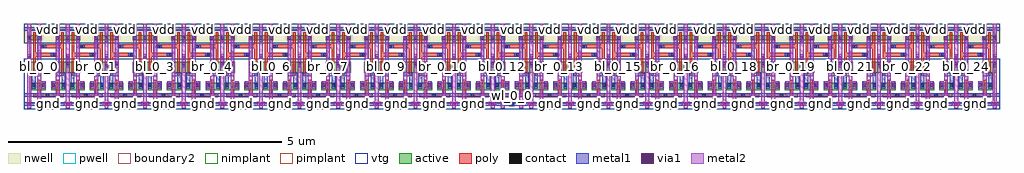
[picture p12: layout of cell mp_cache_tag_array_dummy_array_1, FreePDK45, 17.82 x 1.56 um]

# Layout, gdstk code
import gdstk
lib = gdstk.Library(unit=1e-6, precision=5e-10)
def R(c, l, rs):  # rectangles x0, y0, x1, y1
    for r in rs: c.add(gdstk.rectangle(r[:2], r[2:], *l))
def A(c, l, x, y, w, h, nx, ny, dx, dy):  # array of equal rectangles
    R(c, l, [(x+i*dx, y+j*dy, x+i*dx+w, y+j*dy+h) for i in range(nx) for j in range(ny)])
active = (1, 0)
pwell = (2, 0)
nwell = (3, 0)
nimplant = (4, 0)
pimplant = (5, 0)
vtg = (6, 0)
poly = (9, 0)
contact = (10, 0)
metal1 = (11, 0)
via1 = (12, 0)
metal2 = (13, 0)
boundary2 = (239, 0)

dummy_cell_1rw = lib.new_cell('dummy_cell_1rw')
R(dummy_cell_1rw, active, [(0.3025,-0.045,0.3925,0.045), (0.3025,-0.045,0.3925,0.045), (0.045,0.2475,0.305,0.3825), (0.045,0.2475,0.12,0.3825), (0.045,0.2475,0.12,0.3825), (0.23,0.2475,0.305,0.3825), (0.23,0.2475,0.305,0.3825), (0.4,0.2475,0.66,0.3825), (0.4,0.2475,0.475,0.3825), (0.4,0.2475,0.475,0.3825), (0.585,0.2475,0.66,0.3825), (0.585,0.2475,0.66,0.3825), (0.045,0.3075,0.12,0.3825), (0.23,0.3075,0.305,0.3825), (0.4,0.3075,0.475,0.3825), (0.585,0.3075,0.66,0.3825), (-0.04,0.5675,0.04,0.7725), (-0.035,0.5675,0.225,0.7725), (-0.035,0.5675,0.04,0.7725), (0.15,0.5675,0.225,0.7725), (0.15,0.5675,0.225,0.7725), (0.48,0.5675,0.74,0.7725), (0.48,0.5675,0.555,0.7725), (0.48,0.5675,0.555,0.7725), (0.665,0.5675,0.74,0.7725), (0.665,0.5675,0.745,0.7725), (-0.035,0.6975,0.04,0.7725), (0.15,0.6975,0.225,0.7725), (0.48,0.6975,0.555,0.7725), (0.665,0.6975,0.74,0.7725), (-0.04,1.1625,0.04,1.2525), (-0.035,1.1625,0.04,1.2375), (-0.035,1.1625,0.225,1.2525), (-0.035,1.1625,0.04,1.2525), (0.15,1.1625,0.225,1.2375), (0.15,1.1625,0.225,1.2525), (0.15,1.1625,0.225,1.2525), (0.48,1.1625,0.555,1.2375), (0.48,1.1625,0.74,1.2525), (0.48,1.1625,0.555,1.2525), (0.48,1.1625,0.555,1.2525), (0.665,1.1625,0.74,1.2375), (0.665,1.1625,0.74,1.2525), (0.665,1.1625,0.745,1.2525), (0.3025,1.32,0.3925,1.41), (0.3025,1.32,0.3925,1.41)])
R(dummy_cell_1rw, pwell, [(-0.095,-0.1,0.8,0.8275), (0.2475,-0.1,0.4475,0.1), (0.2475,-0.08,0.4475,0.12), (-0.01,0.1925,0.36,0.4375), (0.345,0.1925,0.715,0.4375), (-0.09,0.5125,0.28,0.8275), (0.425,0.5125,0.795,0.8275)])
R(dummy_cell_1rw, nwell, [(-0.095,1.1075,0.8,1.465), (-0.09,1.1075,0.28,1.3075), (0.425,1.1075,0.795,1.3075), (0.2475,1.265,0.4475,1.465), (0.2475,1.265,0.4475,1.465)])
R(dummy_cell_1rw, nimplant, [(0.045,0.2475,0.305,0.3825), (0.4,0.2475,0.66,0.3825), (-0.035,0.5675,0.225,0.7725), (0.48,0.5675,0.74,0.7725), (0.3025,1.32,0.3925,1.41), (0.3025,1.32,0.3925,1.41)])
R(dummy_cell_1rw, pimplant, [(0.3025,-0.045,0.3925,0.045), (-0.035,1.1625,0.225,1.2525), (0.48,1.1625,0.74,1.2525)])
R(dummy_cell_1rw, vtg, [(-0.09,-0.1,0.795,0.8275), (-0.01,0.1925,0.36,0.4375), (0.345,0.1925,0.715,0.4375), (-0.09,0.5125,0.28,0.8275), (0.425,0.5125,0.795,0.8275), (-0.09,1.1075,0.28,1.3075), (-0.09,1.1075,0.795,1.465), (0.425,1.1075,0.795,1.3075)])
R(dummy_cell_1rw, poly, [(0.07,0.1225,0.635,0.1975), (0.2975,0.1225,0.3725,0.1975), (0.15,0.1925,0.2,0.2475), (0.15,0.1925,0.2,0.4375), (0.505,0.1925,0.555,0.2475), (0.505,0.1925,0.555,0.4375), (0.15,0.3825,0.2,0.4375), (0.505,0.3825,0.555,0.4375), (0.07,0.5125,0.12,0.5675), (0.07,0.5125,0.12,0.8275), (0.585,0.5125,0.635,0.5675), (0.585,0.5125,0.635,0.8275), (0.07,0.7725,0.12,0.8275), (0.585,0.7725,0.635,0.8275), (0.07,0.8275,0.12,1.1075), (0.07,0.8275,0.12,1.1075), (0.585,0.8275,0.635,1.1075), (0.585,0.8275,0.635,1.1075), (0.07,0.8625,0.5025,0.9375), (0.4275,0.8625,0.5025,0.9375), (0.4275,0.8625,0.5025,0.9375), (0.2025,1.0125,0.2775,1.0875), (0.2025,1.0125,0.2775,1.0875), (0.2025,1.0125,0.635,1.0875), (0.07,1.1075,0.12,1.1625), (0.07,1.1075,0.12,1.3075), (0.585,1.1075,0.635,1.1625), (0.585,1.1075,0.635,1.3075), (0.07,1.2525,0.12,1.3075), (0.585,1.2525,0.635,1.3075)])
R(dummy_cell_1rw, contact, [(0.315,-0.0325,0.38,0.0325), (0.3025,0.1275,0.3675,0.1925), (0.05,0.3125,0.115,0.3775), (0.235,0.3125,0.3,0.3775), (0.405,0.3125,0.47,0.3775), (0.59,0.3125,0.655,0.3775), (-0.0325,0.7025,0.0325,0.7675), (0.155,0.7025,0.22,0.7675), (0.485,0.7025,0.55,0.7675), (0.6725,0.7025,0.7375,0.7675), (0.4325,0.8675,0.4975,0.9325), (0.4325,0.8675,0.4975,0.9325), (0.2075,1.0175,0.2725,1.0825), (0.2075,1.0175,0.2725,1.0825), (-0.0325,1.1675,0.0325,1.2325), (0.155,1.1675,0.22,1.2325), (0.485,1.1675,0.55,1.2325), (0.6725,1.1675,0.7375,1.2325), (0.315,1.3325,0.38,1.3975)])
R(dummy_cell_1rw, metal1, [(-0.09,-0.0325,0.795,0.0325), (-0.09,-0.0325,0.795,0.0325), (0.285,-0.0325,0.42,0.0325), (0.285,-0.0325,0.42,0.0325), (0.6375,-0.0325,0.7725,0.0325), (0.6375,-0.0325,0.7725,0.0325), (0.6375,-0.0325,0.7725,0.0325), (0.6375,-0.0325,0.7725,0.0325), (-0.09,0.1275,0.795,0.1925), (-0.09,0.1275,0.795,0.1925), (0.2675,0.1275,0.4025,0.1925), (-0.085,0.13,-0.0325,0.1925), (0.62,0.13,0.6725,0.1925), (0.05,0.2775,0.115,0.4125), (0.05,0.2775,0.12,0.5675), (0.2225,0.2775,0.2875,0.4125), (0.235,0.2775,0.3,0.4125), (0.405,0.2775,0.47,0.4125), (0.4175,0.2775,0.4825,0.4125), (0.59,0.2775,0.655,0.4125), (0.59,0.2775,0.66,0.5675), (0.05,0.5025,0.22,0.5675), (0.155,0.5025,0.22,1.2425), (0.485,0.5025,0.66,0.5675), (0.485,0.5025,0.55,1.1325), (-0.035,0.6675,0.035,0.8025), (-0.035,0.6675,0.035,0.8025), (-0.03,0.6675,0.035,0.8025), (0.155,0.6675,0.22,0.8025), (0.485,0.6675,0.55,0.8025), (0.67,0.6675,0.735,0.8025), (0.67,0.6675,0.74,0.8025), (0.67,0.6675,0.74,0.8025), (0.67,0.6675,0.74,0.8025), (0.67,0.6675,0.74,0.8025), (0.67,0.6675,0.74,0.8025), (0.67,0.6675,0.74,0.8025), (-0.0325,0.77,0.0325,0.905), (-0.0325,0.77,0.0325,0.905), (-0.0325,0.77,0.0325,0.905), (-0.0325,0.77,0.0325,0.905), (-0.0325,0.77,0.0325,0.905), (-0.0325,0.77,0.0325,0.905), (0.6725,0.77,0.7375,0.905), (0.6725,0.77,0.7375,0.905), (0.6725,0.77,0.7375,0.905), (0.6725,0.77,0.7375,0.905), (0.6725,0.77,0.7375,0.905), (0.6725,0.77,0.7375,0.905), (0.6725,0.77,0.7375,0.905), (0.6725,0.77,0.7375,0.905), (0.6725,0.77,0.7375,0.905), (0.6725,0.77,0.7375,0.905), (0.6725,0.77,0.7375,0.905), (0.6725,0.77,0.7375,0.905), (0.6725,0.77,0.7375,0.905), (0.6725,0.77,0.7375,0.905), (0.6725,0.77,0.7375,0.905), (0.6725,0.77,0.7375,0.905), (0.6725,0.77,0.7375,0.905), (0.6725,0.77,0.7375,0.905), (0.6725,0.77,0.7375,0.905), (0.6725,0.77,0.7375,0.905), (0.6725,0.77,0.7375,0.905), (0.6725,0.77,0.7375,0.905), (0.6725,0.77,0.7375,0.905), (0.6725,0.77,0.7375,0.905), (0.3975,0.8675,0.5325,0.9325), (0.3975,0.8675,0.5325,0.9325), (0.1725,1.0175,0.3075,1.0825), (0.1725,1.0175,0.3075,1.0825), (-0.035,1.1325,0.035,1.3325), (-0.03,1.1325,0.035,1.2675), (0.155,1.1325,0.22,1.2675), (0.485,1.1325,0.55,1.2675), (0.67,1.1325,0.735,1.2675), (0.67,1.1325,0.74,1.3325), (0.67,1.1325,0.74,1.3325), (-0.09,1.3325,0.795,1.3975), (-0.09,1.3325,0.795,1.3975)])
R(dummy_cell_1rw, via1, [(-0.0325,-0.0325,0.0325,0.0325), (-0.0325,-0.0325,0.0325,0.0325), (0.6725,-0.0325,0.7375,0.0325), (0.6725,-0.0325,0.7375,0.0325), (0.6725,-0.0325,0.7375,0.0325), (0.6725,-0.0325,0.7375,0.0325), (-0.0325,0.805,0.0325,0.87), (-0.0325,0.805,0.0325,0.87), (-0.0325,0.805,0.0325,0.87), (-0.0325,0.805,0.0325,0.87), (-0.0325,0.805,0.0325,0.87), (-0.0325,0.805,0.0325,0.87), (0.6725,0.805,0.7375,0.87), (0.6725,0.805,0.7375,0.87), (0.6725,0.805,0.7375,0.87), (0.6725,0.805,0.7375,0.87), (0.6725,0.805,0.7375,0.87), (0.6725,0.805,0.7375,0.87), (0.6725,0.805,0.7375,0.87), (0.6725,0.805,0.7375,0.87), (0.6725,0.805,0.7375,0.87), (0.6725,0.805,0.7375,0.87), (0.6725,0.805,0.7375,0.87), (0.6725,0.805,0.7375,0.87), (0.6725,0.805,0.7375,0.87), (0.6725,0.805,0.7375,0.87), (0.6725,0.805,0.7375,0.87), (0.6725,0.805,0.7375,0.87), (0.6725,0.805,0.7375,0.87), (0.6725,0.805,0.7375,0.87), (0.6725,0.805,0.7375,0.87), (0.6725,0.805,0.7375,0.87), (0.6725,0.805,0.7375,0.87), (0.6725,0.805,0.7375,0.87), (0.6725,0.805,0.7375,0.87), (0.6725,0.805,0.7375,0.87)])
R(dummy_cell_1rw, metal2, [(-0.035,-0.08,0.035,1.465), (0.15,-0.08,0.22,1.465), (0.15,-0.08,0.22,1.465), (0.485,-0.08,0.555,1.465), (0.485,-0.08,0.555,1.465), (0.67,-0.08,0.74,1.465), (0.6375,-0.035,0.7725,0.035), (0.6375,-0.035,0.7725,0.035), (0.6375,-0.035,0.7725,0.035), (0.6375,-0.035,0.7725,0.035), (0.4925,-0.0325,0.55,0.0275), (-0.03,-0.03,0.03,0.0275), (0.1575,-0.025,0.2125,0.0275), (0.675,-0.025,0.735,0.0325), (0.67,-0.0125,0.74,1.3975), (0.22,0.2775,0.29,0.4125), (0.415,0.2775,0.485,0.4125), (-0.035,0.77,0.035,0.905), (-0.035,0.77,0.035,0.905), (-0.035,0.77,0.035,0.905), (-0.035,0.77,0.035,0.905), (-0.035,0.77,0.035,0.905), (-0.035,0.77,0.035,0.905), (0.67,0.77,0.74,0.905), (0.67,0.77,0.74,0.905), (0.67,0.77,0.74,0.905), (0.67,0.77,0.74,0.905), (0.67,0.77,0.74,0.905), (0.67,0.77,0.74,0.905), (0.67,0.77,0.74,0.905), (0.67,0.77,0.74,0.905), (0.67,0.77,0.74,0.905), (0.67,0.77,0.74,0.905), (0.67,0.77,0.74,0.905), (0.67,0.77,0.74,0.905), (0.67,0.77,0.74,0.905), (0.67,0.77,0.74,0.905), (0.67,0.77,0.74,0.905), (0.67,0.77,0.74,0.905), (0.67,0.77,0.74,0.905), (0.67,0.77,0.74,0.905), (0.67,0.77,0.74,0.905), (0.67,0.77,0.74,0.905), (0.67,0.77,0.74,0.905), (0.67,0.77,0.74,0.905), (0.67,0.77,0.74,0.905), (0.67,0.77,0.74,0.905)])
R(dummy_cell_1rw, boundary2, [(0,0.02,0.705,1.365)])
dummy_cell_1rw.add(gdstk.Label('gnd', (0.345,0), layer=11, texttype=0))
dummy_cell_1rw.add(gdstk.Label('vdd', (0.345,1.365), layer=11, texttype=0))
dummy_cell_1rw.add(gdstk.Label('wl', (-0.05,0.167), layer=11, texttype=0))
dummy_cell_1rw.add(gdstk.Label('br', (0.52,0.003), layer=13, texttype=0))
dummy_cell_1rw.add(gdstk.Label('bl', (0.19,0.003), layer=13, texttype=0))
dummy_cell_1rw.add(gdstk.Label('bl', (0.185,0.6925), layer=13, texttype=0))
dummy_cell_1rw.add(gdstk.Label('br', (0.52,0.6925), layer=13, texttype=0))
dummy_cell_1rw.add(gdstk.Label('wl', (0.3525,0.16), layer=11, texttype=0))
dummy_cell_1rw.add(gdstk.Label('vdd', (0.3525,1.365), layer=11, texttype=0))
dummy_cell_1rw.add(gdstk.Label('gnd', (0.3525,0), layer=11, texttype=0))

mp_cache_tag_array_dummy = lib.new_cell('mp_cache_tag_array_dummy_array_1')
A(mp_cache_tag_array_dummy, metal1, -0.09, -0.0325, 0.885, 0.065, 25, 2, 0.705, 1.365)
R(mp_cache_tag_array_dummy, metal1, [(0,0.1275,17.625,0.1925)])
R(mp_cache_tag_array_dummy, metal2, [(0.15,0,0.22,1.365), (0.485,0,0.555,1.365), (0.855,0,0.925,1.365), (1.19,0,1.26,1.365), (1.56,0,1.63,1.365), (1.895,0,1.965,1.365), (2.265,0,2.335,1.365), (2.6,0,2.67,1.365), (2.97,0,3.04,1.365), (3.305,0,3.375,1.365), (3.675,0,3.745,1.365), (4.01,0,4.08,1.365), (4.38,0,4.45,1.365), (4.715,0,4.785,1.365), (5.085,0,5.155,1.365), (5.42,0,5.49,1.365), (5.79,0,5.86,1.365), (6.125,0,6.195,1.365), (6.495,0,6.565,1.365), (6.83,0,6.9,1.365), (7.2,0,7.27,1.365), (7.535,0,7.605,1.365), (7.905,0,7.975,1.365), (8.24,0,8.31,1.365), (8.61,0,8.68,1.365), (8.945,0,9.015,1.365), (9.315,0,9.385,1.365), (9.65,0,9.72,1.365), (10.02,0,10.09,1.365), (10.355,0,10.425,1.365), (10.725,0,10.795,1.365), (11.06,0,11.13,1.365), (11.43,0,11.5,1.365), (11.765,0,11.835,1.365), (12.135,0,12.205,1.365), (12.47,0,12.54,1.365), (12.84,0,12.91,1.365), (13.175,0,13.245,1.365), (13.545,0,13.615,1.365), (13.88,0,13.95,1.365), (14.25,0,14.32,1.365), (14.585,0,14.655,1.365), (14.955,0,15.025,1.365), (15.29,0,15.36,1.365), (15.66,0,15.73,1.365), (15.995,0,16.065,1.365), (16.365,0,16.435,1.365), (16.7,0,16.77,1.365), (17.07,0,17.14,1.365), (17.405,0,17.475,1.365)])
R(mp_cache_tag_array_dummy, boundary2, [(0,0,17.625,1.365)])
mp_cache_tag_array_dummy.add(gdstk.Reference(dummy_cell_1rw, (0,0)))
mp_cache_tag_array_dummy.add(gdstk.Reference(dummy_cell_1rw, (0.705,0)))
mp_cache_tag_array_dummy.add(gdstk.Reference(dummy_cell_1rw, (1.41,0)))
mp_cache_tag_array_dummy.add(gdstk.Reference(dummy_cell_1rw, (2.115,0)))
mp_cache_tag_array_dummy.add(gdstk.Reference(dummy_cell_1rw, (2.82,0)))
mp_cache_tag_array_dummy.add(gdstk.Reference(dummy_cell_1rw, (3.525,0)))
mp_cache_tag_array_dummy.add(gdstk.Reference(dummy_cell_1rw, (4.23,0)))
mp_cache_tag_array_dummy.add(gdstk.Reference(dummy_cell_1rw, (4.935,0)))
mp_cache_tag_array_dummy.add(gdstk.Reference(dummy_cell_1rw, (5.64,0)))
mp_cache_tag_array_dummy.add(gdstk.Reference(dummy_cell_1rw, (6.345,0)))
mp_cache_tag_array_dummy.add(gdstk.Reference(dummy_cell_1rw, (7.05,0)))
mp_cache_tag_array_dummy.add(gdstk.Reference(dummy_cell_1rw, (7.755,0)))
mp_cache_tag_array_dummy.add(gdstk.Reference(dummy_cell_1rw, (8.46,0)))
mp_cache_tag_array_dummy.add(gdstk.Reference(dummy_cell_1rw, (9.165,0)))
mp_cache_tag_array_dummy.add(gdstk.Reference(dummy_cell_1rw, (9.87,0)))
mp_cache_tag_array_dummy.add(gdstk.Reference(dummy_cell_1rw, (10.575,0)))
mp_cache_tag_array_dummy.add(gdstk.Reference(dummy_cell_1rw, (11.28,0)))
mp_cache_tag_array_dummy.add(gdstk.Reference(dummy_cell_1rw, (11.985,0)))
mp_cache_tag_array_dummy.add(gdstk.Reference(dummy_cell_1rw, (12.69,0)))
mp_cache_tag_array_dummy.add(gdstk.Reference(dummy_cell_1rw, (13.395,0)))
mp_cache_tag_array_dummy.add(gdstk.Reference(dummy_cell_1rw, (14.1,0)))
mp_cache_tag_array_dummy.add(gdstk.Reference(dummy_cell_1rw, (14.805,0)))
mp_cache_tag_array_dummy.add(gdstk.Reference(dummy_cell_1rw, (15.51,0)))
mp_cache_tag_array_dummy.add(gdstk.Reference(dummy_cell_1rw, (16.215,0)))
mp_cache_tag_array_dummy.add(gdstk.Reference(dummy_cell_1rw, (16.92,0)))
mp_cache_tag_array_dummy.add(gdstk.Label('bl_0_0', (0.185,0.6825), layer=13, texttype=0))
mp_cache_tag_array_dummy.add(gdstk.Label('br_0_0', (0.52,0.6825), layer=13, texttype=0))
mp_cache_tag_array_dummy.add(gdstk.Label('bl_0_1', (0.89,0.6825), layer=13, texttype=0))
mp_cache_tag_array_dummy.add(gdstk.Label('br_0_1', (1.225,0.6825), layer=13, texttype=0))
mp_cache_tag_array_dummy.add(gdstk.Label('bl_0_2', (1.595,0.6825), layer=13, texttype=0))
mp_cache_tag_array_dummy.add(gdstk.Label('br_0_2', (1.93,0.6825), layer=13, texttype=0))
mp_cache_tag_array_dummy.add(gdstk.Label('bl_0_3', (2.3,0.6825), layer=13, texttype=0))
mp_cache_tag_array_dummy.add(gdstk.Label('br_0_3', (2.635,0.6825), layer=13, texttype=0))
mp_cache_tag_array_dummy.add(gdstk.Label('bl_0_4', (3.005,0.6825), layer=13, texttype=0))
mp_cache_tag_array_dummy.add(gdstk.Label('br_0_4', (3.34,0.6825), layer=13, texttype=0))
mp_cache_tag_array_dummy.add(gdstk.Label('bl_0_5', (3.71,0.6825), layer=13, texttype=0))
mp_cache_tag_array_dummy.add(gdstk.Label('br_0_5', (4.045,0.6825), layer=13, texttype=0))
mp_cache_tag_array_dummy.add(gdstk.Label('bl_0_6', (4.415,0.6825), layer=13, texttype=0))
mp_cache_tag_array_dummy.add(gdstk.Label('br_0_6', (4.75,0.6825), layer=13, texttype=0))
mp_cache_tag_array_dummy.add(gdstk.Label('bl_0_7', (5.12,0.6825), layer=13, texttype=0))
mp_cache_tag_array_dummy.add(gdstk.Label('br_0_7', (5.455,0.6825), layer=13, texttype=0))
mp_cache_tag_array_dummy.add(gdstk.Label('bl_0_8', (5.825,0.6825), layer=13, texttype=0))
mp_cache_tag_array_dummy.add(gdstk.Label('br_0_8', (6.16,0.6825), layer=13, texttype=0))
mp_cache_tag_array_dummy.add(gdstk.Label('bl_0_9', (6.53,0.6825), layer=13, texttype=0))
mp_cache_tag_array_dummy.add(gdstk.Label('br_0_9', (6.865,0.6825), layer=13, texttype=0))
mp_cache_tag_array_dummy.add(gdstk.Label('bl_0_10', (7.235,0.6825), layer=13, texttype=0))
mp_cache_tag_array_dummy.add(gdstk.Label('br_0_10', (7.57,0.6825), layer=13, texttype=0))
mp_cache_tag_array_dummy.add(gdstk.Label('bl_0_11', (7.94,0.6825), layer=13, texttype=0))
mp_cache_tag_array_dummy.add(gdstk.Label('br_0_11', (8.275,0.6825), layer=13, texttype=0))
mp_cache_tag_array_dummy.add(gdstk.Label('bl_0_12', (8.645,0.6825), layer=13, texttype=0))
mp_cache_tag_array_dummy.add(gdstk.Label('br_0_12', (8.98,0.6825), layer=13, texttype=0))
mp_cache_tag_array_dummy.add(gdstk.Label('bl_0_13', (9.35,0.6825), layer=13, texttype=0))
mp_cache_tag_array_dummy.add(gdstk.Label('br_0_13', (9.685,0.6825), layer=13, texttype=0))
mp_cache_tag_array_dummy.add(gdstk.Label('bl_0_14', (10.055,0.6825), layer=13, texttype=0))
mp_cache_tag_array_dummy.add(gdstk.Label('br_0_14', (10.39,0.6825), layer=13, texttype=0))
mp_cache_tag_array_dummy.add(gdstk.Label('bl_0_15', (10.76,0.6825), layer=13, texttype=0))
mp_cache_tag_array_dummy.add(gdstk.Label('br_0_15', (11.095,0.6825), layer=13, texttype=0))
mp_cache_tag_array_dummy.add(gdstk.Label('bl_0_16', (11.465,0.6825), layer=13, texttype=0))
mp_cache_tag_array_dummy.add(gdstk.Label('br_0_16', (11.8,0.6825), layer=13, texttype=0))
mp_cache_tag_array_dummy.add(gdstk.Label('bl_0_17', (12.17,0.6825), layer=13, texttype=0))
mp_cache_tag_array_dummy.add(gdstk.Label('br_0_17', (12.505,0.6825), layer=13, texttype=0))
mp_cache_tag_array_dummy.add(gdstk.Label('bl_0_18', (12.875,0.6825), layer=13, texttype=0))
mp_cache_tag_array_dummy.add(gdstk.Label('br_0_18', (13.21,0.6825), layer=13, texttype=0))
mp_cache_tag_array_dummy.add(gdstk.Label('bl_0_19', (13.58,0.6825), layer=13, texttype=0))
mp_cache_tag_array_dummy.add(gdstk.Label('br_0_19', (13.915,0.6825), layer=13, texttype=0))
mp_cache_tag_array_dummy.add(gdstk.Label('bl_0_20', (14.285,0.6825), layer=13, texttype=0))
mp_cache_tag_array_dummy.add(gdstk.Label('br_0_20', (14.62,0.6825), layer=13, texttype=0))
mp_cache_tag_array_dummy.add(gdstk.Label('bl_0_21', (14.99,0.6825), layer=13, texttype=0))
mp_cache_tag_array_dummy.add(gdstk.Label('br_0_21', (15.325,0.6825), layer=13, texttype=0))
mp_cache_tag_array_dummy.add(gdstk.Label('bl_0_22', (15.695,0.6825), layer=13, texttype=0))
mp_cache_tag_array_dummy.add(gdstk.Label('br_0_22', (16.03,0.6825), layer=13, texttype=0))
mp_cache_tag_array_dummy.add(gdstk.Label('bl_0_23', (16.4,0.6825), layer=13, texttype=0))
mp_cache_tag_array_dummy.add(gdstk.Label('br_0_23', (16.735,0.6825), layer=13, texttype=0))
mp_cache_tag_array_dummy.add(gdstk.Label('bl_0_24', (17.105,0.6825), layer=13, texttype=0))
mp_cache_tag_array_dummy.add(gdstk.Label('br_0_24', (17.44,0.6825), layer=13, texttype=0))
mp_cache_tag_array_dummy.add(gdstk.Label('wl_0_0', (8.8125,0.16), layer=11, texttype=0))
mp_cache_tag_array_dummy.add(gdstk.Label('vdd', (7.4025,1.365), layer=11, texttype=0))
mp_cache_tag_array_dummy.add(gdstk.Label('vdd', (12.3375,1.365), layer=11, texttype=0))
mp_cache_tag_array_dummy.add(gdstk.Label('vdd', (2.4675,1.365), layer=11, texttype=0))
mp_cache_tag_array_dummy.add(gdstk.Label('vdd', (16.5675,1.365), layer=11, texttype=0))
mp_cache_tag_array_dummy.add(gdstk.Label('vdd', (0.3525,1.365), layer=11, texttype=0))
mp_cache_tag_array_dummy.add(gdstk.Label('vdd', (1.7625,1.365), layer=11, texttype=0))
mp_cache_tag_array_dummy.add(gdstk.Label('vdd', (14.4525,1.365), layer=11, texttype=0))
mp_cache_tag_array_dummy.add(gdstk.Label('vdd', (8.8125,1.365), layer=11, texttype=0))
mp_cache_tag_array_dummy.add(gdstk.Label('vdd', (8.1075,1.365), layer=11, texttype=0))
mp_cache_tag_array_dummy.add(gdstk.Label('vdd', (6.6975,1.365), layer=11, texttype=0))
mp_cache_tag_array_dummy.add(gdstk.Label('vdd', (15.8625,1.365), layer=11, texttype=0))
mp_cache_tag_array_dummy.add(gdstk.Label('vdd', (4.5825,1.365), layer=11, texttype=0))
mp_cache_tag_array_dummy.add(gdstk.Label('vdd', (17.2725,1.365), layer=11, texttype=0))
mp_cache_tag_array_dummy.add(gdstk.Label('vdd', (13.7475,1.365), layer=11, texttype=0))
mp_cache_tag_array_dummy.add(gdstk.Label('vdd', (10.9275,1.365), layer=11, texttype=0))
mp_cache_tag_array_dummy.add(gdstk.Label('vdd', (1.0575,1.365), layer=11, texttype=0))
mp_cache_tag_array_dummy.add(gdstk.Label('vdd', (9.5175,1.365), layer=11, texttype=0))
mp_cache_tag_array_dummy.add(gdstk.Label('vdd', (3.1725,1.365), layer=11, texttype=0))
mp_cache_tag_array_dummy.add(gdstk.Label('vdd', (5.9925,1.365), layer=11, texttype=0))
mp_cache_tag_array_dummy.add(gdstk.Label('vdd', (5.2875,1.365), layer=11, texttype=0))
mp_cache_tag_array_dummy.add(gdstk.Label('vdd', (13.0425,1.365), layer=11, texttype=0))
mp_cache_tag_array_dummy.add(gdstk.Label('vdd', (10.2225,1.365), layer=11, texttype=0))
mp_cache_tag_array_dummy.add(gdstk.Label('vdd', (3.8775,1.365), layer=11, texttype=0))
mp_cache_tag_array_dummy.add(gdstk.Label('vdd', (11.6325,1.365), layer=11, texttype=0))
mp_cache_tag_array_dummy.add(gdstk.Label('vdd', (15.1575,1.365), layer=11, texttype=0))
mp_cache_tag_array_dummy.add(gdstk.Label('gnd', (1.0575,0), layer=11, texttype=0))
mp_cache_tag_array_dummy.add(gdstk.Label('gnd', (15.1575,0), layer=11, texttype=0))
mp_cache_tag_array_dummy.add(gdstk.Label('gnd', (11.6325,0), layer=11, texttype=0))
mp_cache_tag_array_dummy.add(gdstk.Label('gnd', (8.8125,0), layer=11, texttype=0))
mp_cache_tag_array_dummy.add(gdstk.Label('gnd', (6.6975,0), layer=11, texttype=0))
mp_cache_tag_array_dummy.add(gdstk.Label('gnd', (15.8625,0), layer=11, texttype=0))
mp_cache_tag_array_dummy.add(gdstk.Label('gnd', (3.8775,0), layer=11, texttype=0))
mp_cache_tag_array_dummy.add(gdstk.Label('gnd', (14.4525,0), layer=11, texttype=0))
mp_cache_tag_array_dummy.add(gdstk.Label('gnd', (13.0425,0), layer=11, texttype=0))
mp_cache_tag_array_dummy.add(gdstk.Label('gnd', (10.2225,0), layer=11, texttype=0))
mp_cache_tag_array_dummy.add(gdstk.Label('gnd', (9.5175,0), layer=11, texttype=0))
mp_cache_tag_array_dummy.add(gdstk.Label('gnd', (4.5825,0), layer=11, texttype=0))
mp_cache_tag_array_dummy.add(gdstk.Label('gnd', (17.2725,0), layer=11, texttype=0))
mp_cache_tag_array_dummy.add(gdstk.Label('gnd', (5.9925,0), layer=11, texttype=0))
mp_cache_tag_array_dummy.add(gdstk.Label('gnd', (3.1725,0), layer=11, texttype=0))
mp_cache_tag_array_dummy.add(gdstk.Label('gnd', (7.4025,0), layer=11, texttype=0))
mp_cache_tag_array_dummy.add(gdstk.Label('gnd', (16.5675,0), layer=11, texttype=0))
mp_cache_tag_array_dummy.add(gdstk.Label('gnd', (8.1075,0), layer=11, texttype=0))
mp_cache_tag_array_dummy.add(gdstk.Label('gnd', (12.3375,0), layer=11, texttype=0))
mp_cache_tag_array_dummy.add(gdstk.Label('gnd', (0.3525,0), layer=11, texttype=0))
mp_cache_tag_array_dummy.add(gdstk.Label('gnd', (1.7625,0), layer=11, texttype=0))
mp_cache_tag_array_dummy.add(gdstk.Label('gnd', (10.9275,0), layer=11, texttype=0))
mp_cache_tag_array_dummy.add(gdstk.Label('gnd', (13.7475,0), layer=11, texttype=0))
mp_cache_tag_array_dummy.add(gdstk.Label('gnd', (2.4675,0), layer=11, texttype=0))
mp_cache_tag_array_dummy.add(gdstk.Label('gnd', (5.2875,0), layer=11, texttype=0))

lib.write_gds('mp_cache_tag_array_dummy_array_1.gds')
